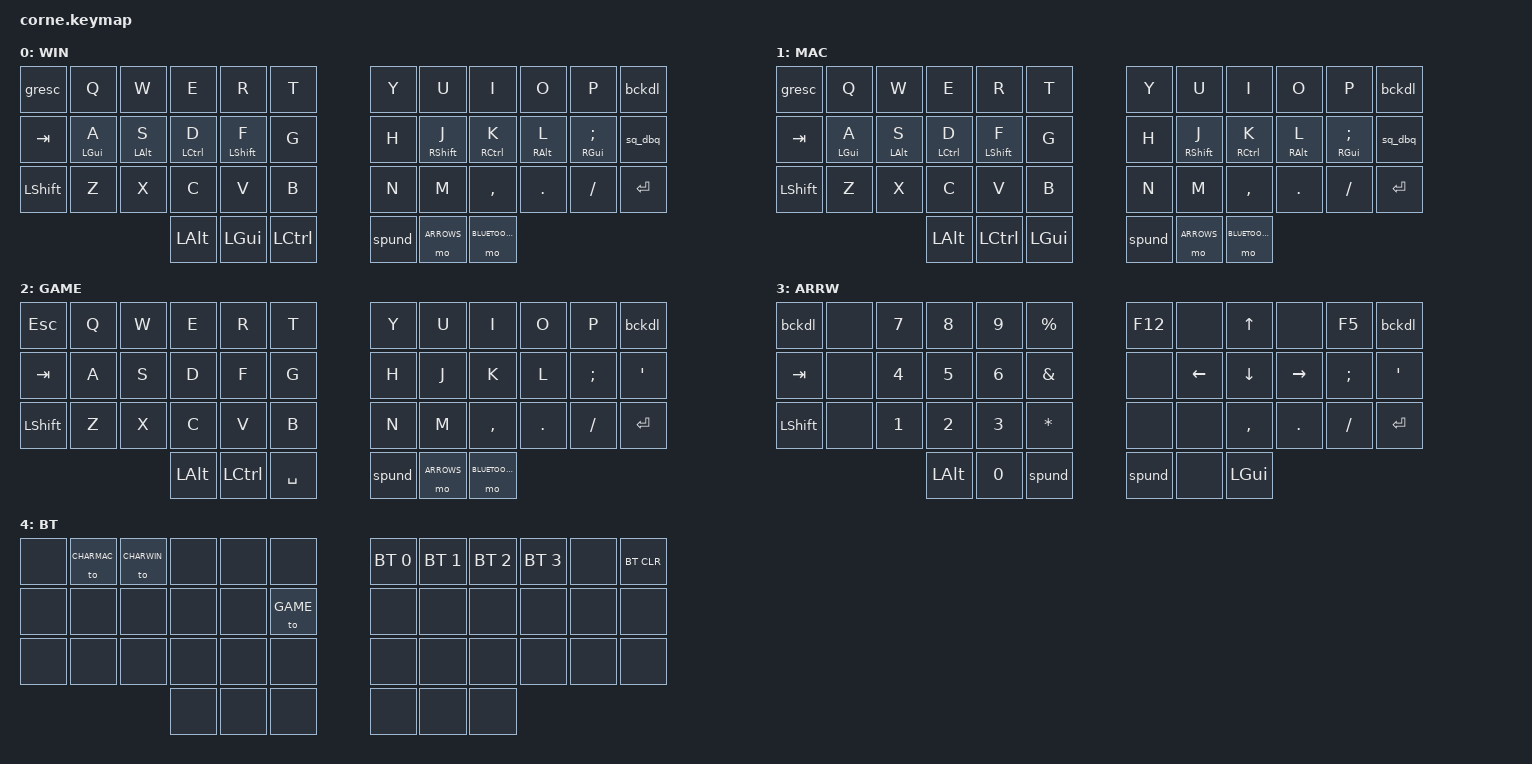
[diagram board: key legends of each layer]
/*
 * Copyright (c) 2020 The ZMK Contributors
 *
 * SPDX-License-Identifier: MIT
 */

#include <behaviors.dtsi>
#include <dt-bindings/zmk/bt.h>
#include <dt-bindings/zmk/keys.h>

#define CHARWIN 0
#define CHARMAC 1
#define GAME 2
#define ARROWS 3
#define BLUETOOTH 4


/ {
    behaviors {
        hm: homerow_mods {
            compatible = "zmk,behavior-hold-tap";
            label = "HOMEROW_MODS";
            #binding-cells = <2>;
            tapping-term-ms = <200>;
            quick_tap_ms = <0>;
            flavor = "tap-preferred";
            bindings = <&kp>, <&kp>;

            quick-tap-ms = <180>;
            global-quick-tap;
        };

        spund: space_under {
            compatible = "zmk,behavior-mod-morph";
            #binding-cells = <0>;
            bindings = <&kp SPACE>, <&kp UNDERSCORE>;

            mods = <(MOD_LSFT|MOD_RSFT)>;
        };

        // In all honesty, this is done to circumvent UK locale and is silly

        sq_dbq: single_quote_double_quote {
            compatible = "zmk,behavior-mod-morph";
            #binding-cells = <0>;
            bindings = <&kp SQT>, <&kp AT>;

            mods = <(MOD_LSFT|MOD_RSFT)>;
        };

        bckdl: backspace_delete {
            compatible = "zmk,behavior-mod-morph";
            #binding-cells = <0>;
            bindings = <&kp BACKSPACE>, <&kp DEL>;

            mods = <(MOD_LSFT|MOD_RSFT)>;
        };

        gresc: grave_escape {
            compatible = "zmk,behavior-mod-morph";
            #binding-cells = <0>;
            bindings = <&kp ESC>, <&kp GRAVE>;

            mods = <(MOD_LGUI|MOD_LSFT|MOD_RGUI|MOD_RSFT)>;
        };
    };

    combos {
        compatible = "zmk,combos";

        left_bkt {
            bindings = <&kp LEFT_BRACKET>;
            key-positions = <4 3>;
            timeout-ms = <25>;
        };

        right_bkt {
            bindings = <&kp RBKT>;
            key-positions = <7 8>;
            timeout-ms = <25>;
        };

        left_par {
            bindings = <&kp LEFT_PARENTHESIS>;
            key-positions = <15 16>;
            timeout-ms = <25>;
        };

        right_par {
            bindings = <&kp RIGHT_PARENTHESIS>;
            key-positions = <19 20>;
            timeout-ms = <25>;
        };

        left_brace {
            bindings = <&kp LEFT_BRACE>;
            key-positions = <27 28>;
            timeout-ms = <25>;
        };

        right_brace {
            bindings = <&kp RIGHT_BRACE>;
            key-positions = <32 31>;
            timeout-ms = <25>;
        };

        hash {
            bindings = <&kp BACKSLASH>;
            key-positions = <5 6>;
            timeout-ms = <25>;
            layers = <CHARWIN>;
        };

        pipe {
            bindings = <&kp LS(RA(NON_US_HASH))>;
            key-positions = <17 18>;
            timeout-ms = <25>;
            layers = <CHARWIN>;
        };

        excl {
            bindings = <&kp EXCL>;
            key-positions = <1 2>;
            timeout-ms = <25>;
        };

        at {
            bindings = <&kp LS(SQT)>;
            key-positions = <2 3>;
            timeout-ms = <25>;
        };

        dash {
            bindings = <&kp MINUS>;
            key-positions = <20 21>;
            timeout-ms = <25>;
        };

        plus {
            bindings = <&kp PLUS>;
            key-positions = <14 15>;
            timeout-ms = <25>;
        };

        eql {
            bindings = <&kp EQUAL>;
            key-positions = <9 10>;
            timeout-ms = <25>;
        };

        caret {
            bindings = <&kp CARET>;
            key-positions = <6 7>;
            timeout-ms = <25>;
        };

        caps {
            bindings = <&kp CAPS>;
            key-positions = <16 19>;
            timeout-ms = <25>;
        };

        tilde {
            bindings = <&kp LS(NON_US_HASH)>;
            key-positions = <21 22>;
            timeout-ms = <25>;
            layers = <CHARWIN>;
        };

        uk_pound {
            bindings = <&kp LS(N3)>;
            key-positions = <4 5>;
            timeout-ms = <25>;
        };

        mac-hash {
            bindings = <&kp F21>;
            key-positions = <5 6>;
            layers = <CHARMAC>;
        };

        mac-pipe {
            bindings = <&kp F22>;
            key-positions = <17 18>;
            layers = <CHARMAC>;
        };

        mac-tilde {
            bindings = <&kp F23>;
            key-positions = <22 21>;
            layers = <CHARMAC>;
        };
    };

    keymap {
        compatible = "zmk,keymap";

        CHARWIN {
            display-name = "WIN";
            bindings = <
&gresc      &kp Q           &kp W           &kp E        &kp R             &kp T        &kp Y   &kp U         &kp I          &kp O            &kp P               &bckdl
&kp TAB     &hm LEFT_GUI A  &hm LEFT_ALT S  &hm LCTRL D  &hm LEFT_SHIFT F  &kp G        &kp H   &hm RSHIFT J  &hm RCTRL K    &hm RIGHT_ALT L  &hm RGUI SEMICOLON  &sq_dbq
&kp LSHIFT  &kp Z           &kp X           &kp C        &kp V             &kp B        &kp N   &kp M         &kp COMMA      &kp DOT          &kp FSLH            &kp ENTER
                                            &kp LALT     &kp LGUI          &kp LCTRL    &spund  &mo ARROWS    &mo BLUETOOTH
            >;
        };

        CHARMAC {
            display-name = "MAC";
            bindings = <
&gresc      &kp Q           &kp W           &kp E        &kp R             &kp T       &kp Y   &kp U         &kp I          &kp O            &kp P               &bckdl
&kp TAB     &hm LEFT_GUI A  &hm LEFT_ALT S  &hm LCTRL D  &hm LEFT_SHIFT F  &kp G       &kp H   &hm RSHIFT J  &hm RCTRL K    &hm RIGHT_ALT L  &hm RGUI SEMICOLON  &sq_dbq
&kp LSHIFT  &kp Z           &kp X           &kp C        &kp V             &kp B       &kp N   &kp M         &kp COMMA      &kp DOT          &kp FSLH            &kp ENTER
                                            &kp LALT     &kp LCTRL         &kp LGUI    &spund  &mo ARROWS    &mo BLUETOOTH
            >;
        };

        GAME {
            display-name = "GAME";
            bindings = <
&kp ESC     &kp Q  &kp W  &kp E     &kp R      &kp T       &kp Y     &kp U       &kp I      &kp O    &kp P          &bckdl
&kp TAB     &kp A  &kp S  &kp D     &kp F      &kp G       &kp H     &kp J       &kp K      &kp L    &kp SEMICOLON  &kp SQT
&kp LSHIFT  &kp Z  &kp X  &kp C     &kp V      &kp B       &kp N     &kp M       &kp COMMA  &kp DOT  &kp FSLH       &kp ENTER
                          &kp LALT  &kp LCTL   &kp SPACE   &spund    &mo ARROWS  &mo BLUETOOTH
            >;
        };

        ARROWS {
            display-name = "ARRW";
            bindings = <
&bckdl      &none  &kp N7  &kp N8    &kp N9  &kp PERCENT    &kp F12  &none     &kp UP     &none      &kp F5    &bckdl
&kp TAB     &none  &kp N4  &kp N5    &kp N6  &kp AMPS       &none    &kp LEFT  &kp DOWN   &kp RIGHT  &kp SEMI  &kp SQT
&kp LSHIFT  &none  &kp N1  &kp N2    &kp N3  &kp STAR       &none    &none     &kp COMMA  &kp DOT    &kp FSLH  &kp ENTER
                           &kp LALT  &kp N0  &spund         &spund   &none     &kp LGUI
            >;
        };

        BLUETOOTH {
            display-name = "BT";
            bindings = <
&none  &to CHARMAC  &to CHARWIN  &none  &none  &none       &bt BT_SEL 0  &bt BT_SEL 1  &bt BT_SEL 2  &bt BT_SEL 3  &none  &bt BT_CLR
&none  &none        &none        &none  &none  &to GAME    &none         &none         &none         &none         &none  &none
&none  &none        &none        &none  &none  &none       &none         &none         &none         &none         &none  &none
                                 &none  &none  &none       &none         &none         &none
            >;
        };

        extra1 { status = "reserved"; };

        extra2 { status = "reserved"; };

        extra3 { status = "reserved"; };

        extra4 { status = "reserved"; };
    };
};
